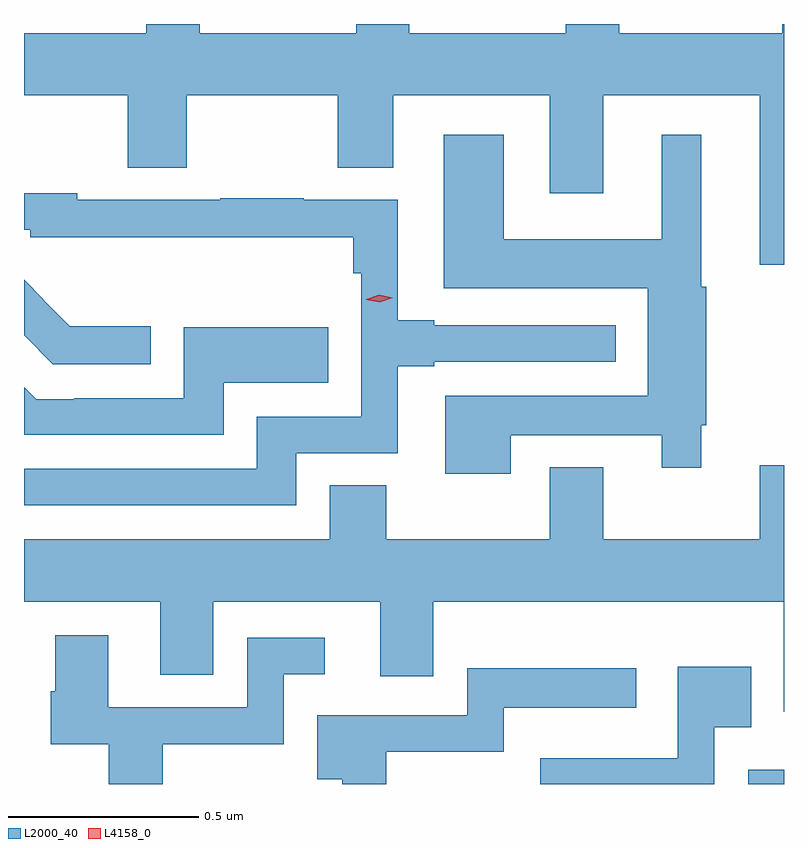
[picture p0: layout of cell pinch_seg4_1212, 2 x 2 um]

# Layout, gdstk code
import gdstk
lib = gdstk.Library(unit=1e-6, precision=1e-09)
def R(c, l, rs):  # rectangles x0, y0, x1, y1
    for r in rs: c.add(gdstk.rectangle(r[:2], r[2:], *l))
def P(c, l, *ps):  # polygons
    for p in ps: c.add(gdstk.Polygon(p, *l))
L2000_40 = (2000, 40)
L4158_0 = (4158, 0)

pinch_seg4_1212 = lib.new_cell('pinch_seg4_1212')
R(pinch_seg4_1212, L2000_40, [(536.219,787.016,536.313,787.054)])
P(pinch_seg4_1212, L2000_40, [(536.313,789.016),(536.309,789.016),(536.309,788.992),(535.879,788.992),(535.879,789.016),(535.739,789.016),(535.739,788.992),(535.327,788.992),(535.327,789.016),(535.187,789.016),(535.187,788.992),(534.775,788.992),(534.775,789.016),(534.635,789.016),(534.635,788.992),(534.313,788.992),(534.313,788.828),(534.586,788.828),(534.586,788.638),(534.741,788.638),(534.741,788.828),(535.138,788.828),(535.138,788.638),(535.285,788.638),(535.285,788.828),(535.697,788.828),(535.697,788.571),(535.837,788.571),(535.837,788.828),(536.249,788.828),(536.249,788.382),(536.313,788.382)],
  [(535.594,787.934),(535.991,787.934),(535.991,787.848),(536.095,787.848),(536.095,787.96),(536.108,787.96),(536.108,788.325),(536.095,788.325),(536.095,788.725),(535.991,788.725),(535.991,788.449),(535.576,788.449),(535.576,788.725),(535.418,788.725),(535.418,788.321),(535.955,788.321),(535.955,788.038),(535.421,788.038),(535.421,787.832),(535.594,787.832)],
  [(535.03,787.887),(535.296,787.887),(535.296,788.115),(535.393,788.115),(535.393,788.127),(535.87,788.127),(535.87,788.223),(535.393,788.223),(535.393,788.236),(535.296,788.236),(535.296,788.553),(535.049,788.553),(535.049,788.558),(534.829,788.558),(534.829,788.553),(534.453,788.553),(534.453,788.571),(534.313,788.571),(534.313,788.475),(534.33,788.475),(534.33,788.455),(535.18,788.455),(535.18,788.36),(535.2,788.36),(535.2,787.983),(534.926,787.983),(534.926,787.845),(534.313,787.845),(534.313,787.749),(535.03,787.749)],
  [(534.646,788.22),(534.434,788.22),(534.363,788.291),(534.364,788.292),(534.313,788.343),(534.313,788.197),(534.389,788.121),(534.646,788.121)],
  [(534.838,788.072),(535.114,788.072),(535.114,788.218),(534.734,788.218),(534.734,788.031),(534.445,788.031),(534.445,788.028),(534.345,788.028),(534.313,788.06),(534.313,787.935),(534.838,787.935)],
  [(536.313,787.855),(536.249,787.855),(536.249,787.66),(535.837,787.66),(535.837,787.849),(535.697,787.849),(535.697,787.66),(535.266,787.66),(535.266,787.802),(535.118,787.802),(535.118,787.66),(534.313,787.66),(534.313,787.496),(534.671,787.496),(534.671,787.303),(534.811,787.303),(534.811,787.496),(535.25,787.496),(535.25,787.299),(535.39,787.299),(535.39,787.496),(536.312,787.496),(536.312,787.206),(536.313,787.206)],
  [(534.678,787.12),(534.996,787.12),(534.996,787.305),(535.105,787.305),(535.105,787.401),(534.9,787.401),(534.9,787.218),(534.535,787.218),(534.535,787.408),(534.395,787.408),(534.395,787.26),(534.383,787.26),(534.383,787.12),(534.536,787.12),(534.536,787.016),(534.678,787.016)],
  [(536.13,787.166),(536.227,787.166),(536.227,787.324),(536.034,787.324),(536.034,787.084),(535.671,787.084),(535.671,787.016),(536.13,787.016)],
  [(535.266,787.101),(535.575,787.101),(535.575,787.217),(535.924,787.217),(535.924,787.321),(535.479,787.321),(535.479,787.197),(535.085,787.197),(535.085,787.028),(535.15,787.028),(535.15,787.016),(535.266,787.016)])
P(pinch_seg4_1212, L4158_0, [(535.249,788.284),(535.213,788.291),(535.213,788.291),(535.213,788.292),(535.248,788.304),(535.284,788.296),(535.284,788.296),(535.284,788.296)])

lib.write_gds('pinch_seg4_1212.gds')
